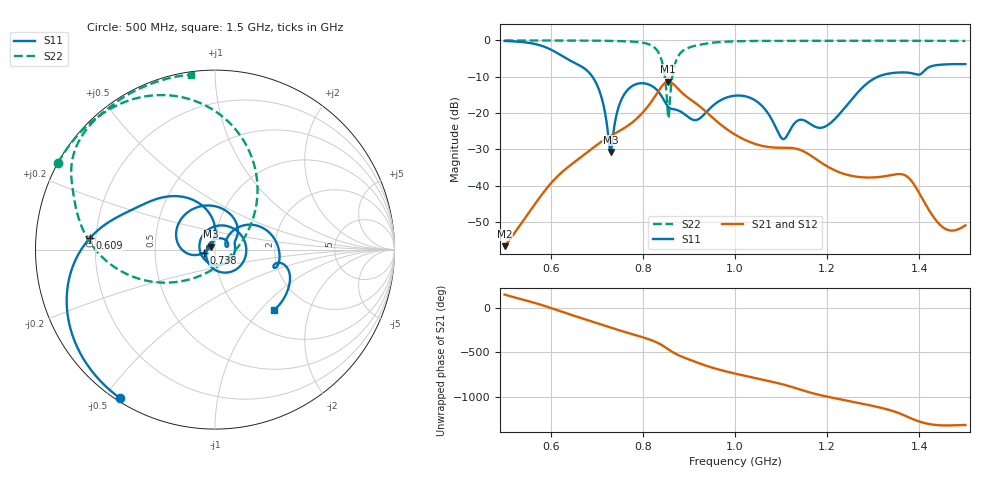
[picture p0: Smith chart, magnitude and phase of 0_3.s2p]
! TOUCHSTONE file generated by CST MICROWAVE STUDIO
! Date and time: Mon Sep 28 14:05:51 2020
! Project name: Scenario_1_Free_SPace.cst
! Parameters = {dx1=207.9; L_HA=400; MT=2.54; Rad_Dielectric=30; Rad_Lower=7.3; Rad_Upper=30; a_HA=580; a_WG=246; b_HA=500; b_WG=121; c_HA=0; c_WG=187; d_feed=85; h_feed=15; h_lower=18; h_upper=40}
! Header version: 2018
! Port assignment regex: !\s*Touchstone port\s*([0-9]+)\s*=\s*(CST MWS port|CST DS port)\s*([0-9]+|Zmin|Zmax)\s*\(\"(.*)\"\)(\s*mode\s*([0-9]+))?.*
! Touchstone port assignment:
! Touchstone port 1 = CST MWS port 1 ("")
! Touchstone port 2 = CST MWS port 2 ("")
# GHz S DB R 50
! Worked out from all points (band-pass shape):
!   1003 points, 500 MHz to 1.5 GHz, reference 50 ohm
!   highest |S21| = -11.31 dB at 855 MHz (marker M1); lowest = -56.6 dB at 500 MHz (marker M2)
!   |S21| within 3 dB of the highest: 832 MHz to 884.3 MHz (52.31 MHz wide, 6.1 % of centre)
!   lowest |S11| = -30.7 dB at 730 MHz (marker M3), VSWR 1.06, Z = 47.6 + j1.58 ohm
!   |S11| at or under -10 dB: 690.6 MHz to 1.31 GHz (619.3 MHz wide, 61.9 % of centre)
!   |S22| runs from -21.4 to 0.0 dB; largest |S21 - S12| = 3.5e-06
!   S11 on the Smith chart (normalised r, x): 500 MHz: 0.01, -0.55; 609 MHz: 0.18, +0.04; 738 MHz: 0.88, -0.03; 1.5 GHz: 1.37, -1.20
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0.5  -0.15 -122.8  -56.63 151.9  -56.63 151.9  -0.01 151.1
0.564  -0.93 -155.9  -45.34 59.6  -45.34 59.6  -0.01 146.8
0.609  -3.09 174.8  -38.15 -14.6  -38.15 -14.6  -0.02 143.4
0.667  -7.20 140.4  -31.99 -114.4  -31.99 -114.4  -0.04 138.3
0.705  -13.63 99.3  -28.34 -177.8  -28.34 -177.8  -0.08 134.2
0.73  -30.67 145.4  -26.28 139.6  -26.28 139.6  -0.13 130.8
0.738  -23.68 -164.1  -25.71 126.3  -25.71 126.3  -0.15 129.6
0.773  -12.90 162.5  -22.97 72.0  -22.97 72.0  -0.29 122.4
0.834  -14.12 55.1  -13.92 -37.2  -13.92 -37.2  -3.33 80.5
0.855  -18.29 23.3  -11.31 -104.2  -11.31 -104.2  -21.36 -34.7
0.869  -18.99 4.8  -12.35 -149.4  -12.35 -149.4  -6.81 -159.3
0.89  -20.27 -49.3  -14.96 161.0  -14.96 161.0  -2.57 171.4
0.931  -20.62 155.9  -18.94 81.5  -18.94 81.5  -1.01 153.9
1  -15.20 5.7  -25.92 -18.6  -25.92 -18.6  -0.24 140.4
1.054  -17.47 -72.2  -28.87 -80.6  -28.87 -80.6  -0.14 133.9
1.103  -27.10 161.4  -29.54 -139.5  -29.54 -139.5  -0.12 129.3
1.137  -22.00 42.4  -29.94 168.9  -29.94 168.9  -0.12 126.5
1.167  -23.28 13.1  -31.91 122.3  -31.91 122.3  -0.10 124.2
1.334  -9.12 3.6  -37.18 -67.4  -37.18 -67.4  -0.09 111.4
1.377  -8.89 -14.7  -37.84 -151.5  -37.84 -151.5  -0.09 108.1
1.454  -6.61 -31.7  -51.68 117.3  -51.68 117.3  -0.11 101.8
1.5  -6.53 -46.0  -50.89 122.4  -50.88 122.4  -0.15 97.7
